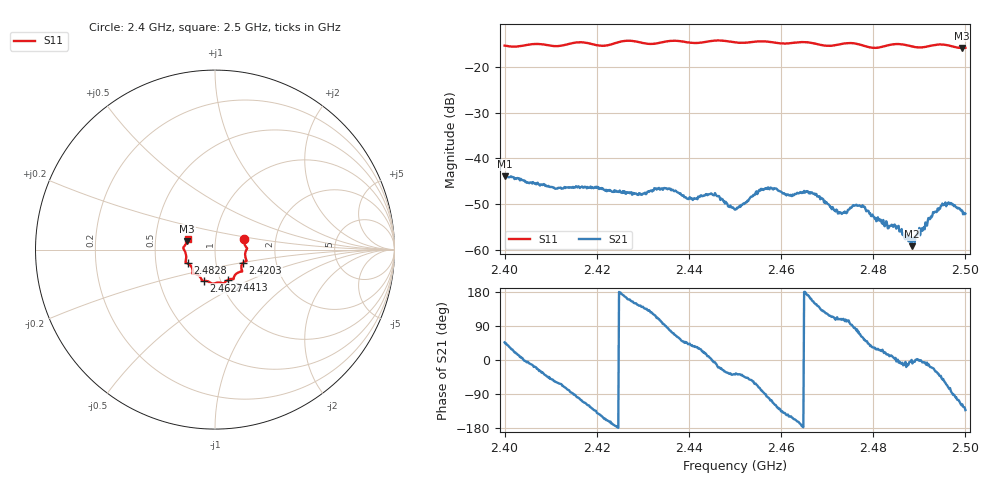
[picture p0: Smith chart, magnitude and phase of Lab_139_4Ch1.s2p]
# Hz S RI R 50
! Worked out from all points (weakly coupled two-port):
!   601 points, 2.4 GHz to 2.5 GHz, reference 50 ohm
!   highest |S21| = -43.93 dB at 2.4 GHz (marker M1); lowest = -59.2 dB at 2.4883 GHz (marker M2)
!   lowest |S11| = -15.8 dB at 2.4992 GHz (marker M3), VSWR 1.39, Z = 36.4 + j3.45 ohm
!   |S11| at or under -10 dB: start of sweep to end of sweep
!   S12 and S22 are empty: the file has one direction only
!   S11 on the Smith chart (normalised r, x): 2.4 GHz: 1.37, +0.17; 2.4203 GHz: 1.35, -0.20; 2.4413 GHz: 1.09, -0.38; 2.4627 GHz: 0.83, -0.30; 2.4828 GHz: 0.73, -0.11; 2.5 GHz: 0.73, +0.09
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2.4e9  0.1617 0.0584  0.00438 0.00461  0 0  0 0
2.411e9  0.1686 -0.0193  0.00248 -0.00392  0 0  0 0
2.416667e9  0.1763 -0.0623  -0.00133 -0.00468  0 0  0 0
2.420333e9  0.1562 -0.0731  -0.0038 -0.003  0 0  0 0
2.429333e9  0.1397 -0.1239  -0.00325 0.00241  0 0  0 0
2.433333e9  0.1076 -0.1479  -0.00149 0.00439  0 0  0 0
2.441333e9  0.0752 -0.1673  0.00299 0.00204  0 0  0 0
2.445333e9  0.0511 -0.1876  0.00393 -0.000403  0 0  0 0
2.45e9  0.0303 -0.1838  0.00215 -0.0017  0 0  0 0
2.456167e9  -0.0131 -0.191  0.000365 -0.00449  0 0  0 0
2.462667e9  -0.0614 -0.1739  -0.00356 -0.00167  0 0  0 0
2.466667e9  -0.0745 -0.1682  -0.00392 0.00161  0 0  0 0
2.472833e9  -0.117 -0.1342  -0.000763 0.00245  0 0  0 0
2.477667e9  -0.1246 -0.12  0.00152 0.00267  0 0  0 0
2.482833e9  -0.1532 -0.0767  0.00197 0.000536  0 0  0 0
2.483333e9  -0.1568 -0.075  0.00167 0.000412  0 0  0 0
2.485e9  -0.1639 -0.0714  0.0017 -0.000107  0 0  0 0
2.488333e9  -0.1607 -0.0501  0.00109 4.98e-06  0 0  0 0
2.495167e9  -0.176 0.0121  0.00197 -0.00235  0 0  0 0
2.496833e9  -0.1688 0.0215  0.000485 -0.00321  0 0  0 0
2.499167e9  -0.1549 0.046  -0.00132 -0.00235  0 0  0 0
2.5e9  -0.1521 0.0574  -0.00166 -0.00184  0 0  0 0
